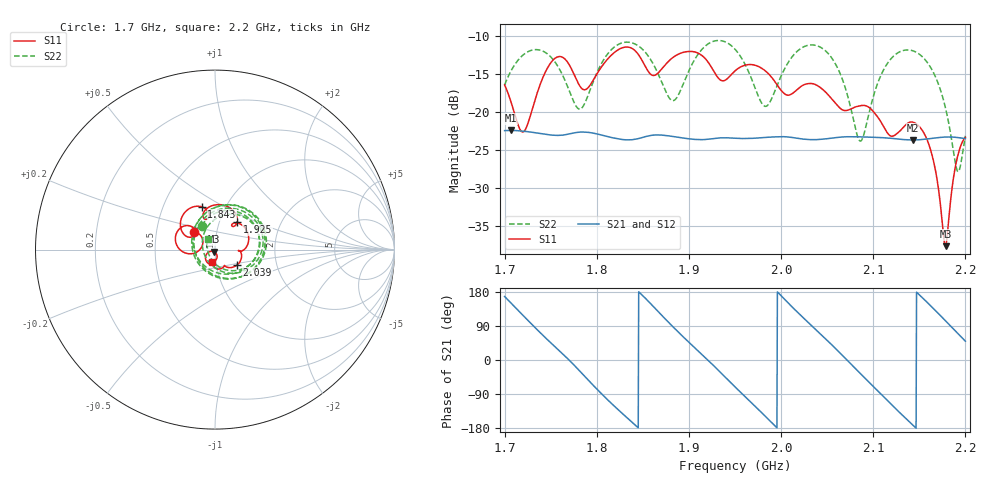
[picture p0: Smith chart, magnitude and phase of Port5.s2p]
# Hz S RI R 50
! CMT, CMT808U, 21440046, 21.4.3/4
! Date: 4/9/2026 1:44:24 AM
! Data: Format (Calibration Info)
! Freq	S11:Re/Im(F2)	S41:Re/Im(F2)	S14:Re/Im(F2)	S44:Re/Im(F2)
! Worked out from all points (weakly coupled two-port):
!   1001 points, 1.7 GHz to 2.2 GHz, reference 50 ohm
!   highest |S21| = -22.38 dB at 1.706 GHz (marker M1); lowest = -23.6 dB at 2.143 GHz (marker M2)
!   lowest |S11| = -37.6 dB at 2.179 GHz (marker M3), VSWR 1.03, Z = 49.5 - j1.21 ohm
!   |S11| at or under -10 dB: start of sweep to end of sweep
!   |S22| runs from -27.8 to -10.5 dB; largest |S21 - S12| = 0.001
!   S11 on the Smith chart (normalised r, x): 1.7 GHz: 0.78, +0.15; 1.843 GHz: 0.77, +0.39; 1.925 GHz: 1.21, +0.39; 2.039 GHz: 1.26, -0.22; 2.2 GHz: 0.96, -0.13
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1.7e9  -0.1163 0.097  -0.0741 0.0163  -0.074 0.0153  -0.0735 0.1327
1.7065e9  -0.0851 0.0839  -0.0668 0.0364  -0.0669 0.0354  -0.0306 0.1829
1.721e9  -0.0728 0.0174  -0.032 0.068  -0.0326 0.0674  0.1124 0.2137
1.744e9  -0.1829 -0.0101  0.0366 0.0618  0.0357 0.062  0.2469 0.0302
1.7835e9  -0.1107 0.0923  0.0614 -0.0417  0.0617 -0.0408  -0.0971 -0.0439
1.8145e9  -0.1927 0.1325  -0.025 -0.064  -0.0241 -0.0641  0.0552 0.2478
1.843e9  -0.0742 0.2385  -0.0664 -0.00648  -0.0661 -0.00726  0.278 0.0257
1.867e9  -0.0609 0.1725  -0.0425 0.0569  -0.0431 0.0562  0.0669 -0.1638
1.8925e9  -0.00803 0.2471  0.0296 0.0612  0.0287 0.0614  -0.1272 0.0741
1.9245e9  0.1233 0.1547  0.0661 -0.0108  0.0661 -0.00984  0.1977 0.2132
1.95e9  0.1137 0.1494  0.0221 -0.0638  0.0229 -0.0633  0.2506 -0.072
1.983e9  0.1842 0.035  -0.0584 -0.0356  -0.0578 -0.0363  -0.099 -0.0469
2.01e9  0.1307 -0.00452  -0.0562 0.0394  -0.0566 0.0385  0.0211 0.2228
2.0335e9  0.1397 -0.0667  8.73e-05 0.0661  -0.000864 0.066  0.2486 0.1252
2.0395e9  0.123 -0.086  0.0157 0.0643  0.0148 0.0645  0.2669 0.0626
2.086e9  0.0372 -0.1043  0.056 -0.0403  0.0565 -0.0394  -0.0605 -0.0231
2.117e9  -0.0108 -0.0704  -0.0241 -0.0633  -0.0232 -0.0635  0.0895 0.1976
2.143e9  -0.0343 -0.0792  -0.0651 -0.00929  -0.0649 -0.0102  0.25 0.0478
2.163e9  -0.0479 -0.0263  -0.0527 0.042  -0.0532 0.0412  0.1657 -0.1016
2.1785e9  -0.00483 -0.0122  -0.0158 0.067  -0.0167 0.0667  0.0321 -0.1014
2.1915e9  0.00947 -0.0503  0.0227 0.0644  0.0218 0.0647  -0.0382 -0.0148
2.2e9  -0.0144 -0.067  0.0435 0.0512  0.0427 0.0518  -0.0387 0.0584
